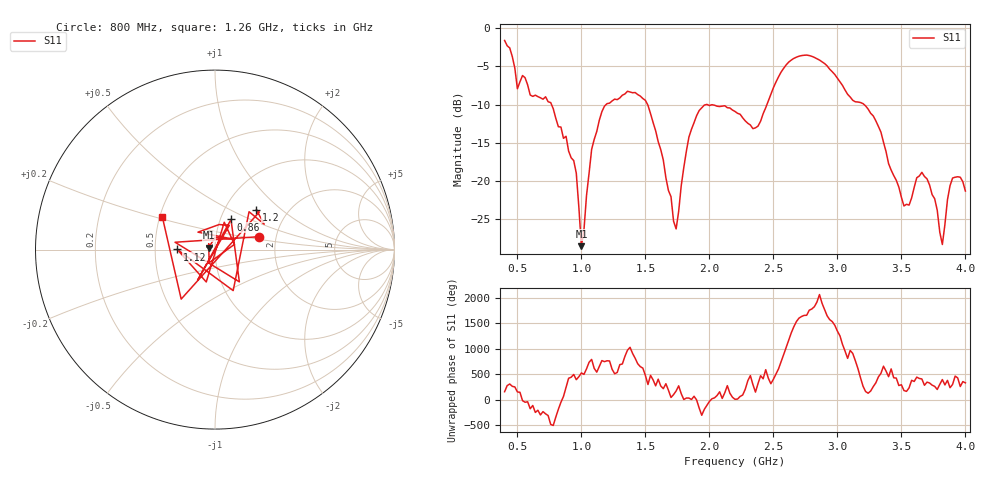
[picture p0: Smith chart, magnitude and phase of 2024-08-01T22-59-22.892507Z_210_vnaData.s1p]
!Created with skrf (http://scikit-rf.org).
# Hz S RI R 50.0
!freq ReS11 ImS11
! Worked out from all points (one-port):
!   181 points, 400 MHz to 4 GHz, reference 50 ohm
!   lowest |S11| = -28.5 dB at 1 GHz (marker M1), VSWR 1.08, Z = 46.5 + j0.948 ohm
!   |S11| at or under -10 dB: 1.517 GHz to 1.976 GHz (459.3 MHz wide, 26.3 % of centre); 1.982 GHz to 2.45 GHz (467.2 MHz wide, 21.1 % of centre); 3.208 GHz to end of sweep (the widest 3 of 4)
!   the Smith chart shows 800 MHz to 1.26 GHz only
!   S11 on the Smith chart (normalised r, x): 800 MHz: 1.63, +0.25; 860 MHz: 1.12, +0.39; 1.12 GHz: 0.65, +0.00; 1.2 GHz: 1.40, +0.69; 1.26 GHz: 0.52, +0.21
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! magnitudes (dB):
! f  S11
! 400 MHz  -1.6
! 500 MHz  -7.9
! 540 MHz  -6.2
! 800 MHz  -11.8
! 860 MHz  -14.4
! 960 MHz  -19.0
! 1 GHz  -28.5
! 1.08 GHz  -15.9
! 1.12 GHz  -13.5
! 1.2 GHz  -9.9
! 1.26 GHz  -9.3
! 1.3 GHz  -9.1
! 1.5 GHz  -9.5
! 1.72 GHz  -25.3
! 1.76 GHz  -24.0
! 1.84 GHz  -14.3
! 1.92 GHz  -10.8
! 2.2 GHz  -10.9
! 2.38 GHz  -12.8
! 2.66 GHz  -4.0
! 3.1 GHz  -9.0
! 3.28 GHz  -11.5
! 3.56 GHz  -23.2
! 3.66 GHz  -18.9
! 3.76 GHz  -22.3
! 3.82 GHz  -28.3
! 3.9 GHz  -19.6
! 4 GHz  -21.3
